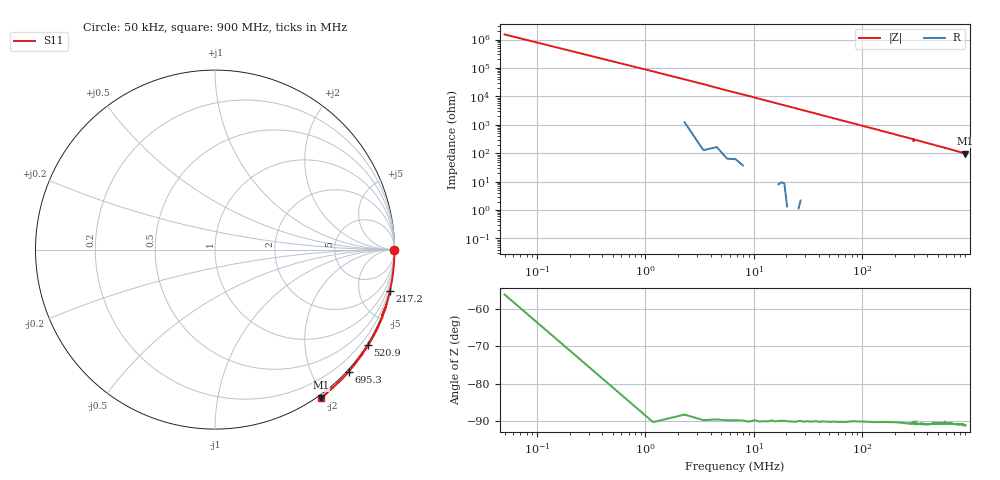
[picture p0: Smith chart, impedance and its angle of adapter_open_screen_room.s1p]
! NanoVNA-App
! Date: 2026-10-30 14:17:39
! Start: 50kHz Stop: 900MHz Points: 801
! S-Parameter data: F S11
# Hz S RI R 50
!  Frequency  S11_Real  S11_Imag
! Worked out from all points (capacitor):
!   801 points, 50 kHz to 900 MHz, reference 50 ohm
!   read as one part to ground: C = 1.73 pF near 4.55 MHz
!   lowest |Z| = 97.3 ohm at 900 MHz (marker M1)
!   S11 on the Smith chart (normalised r, x): 50 kHz: open; 217.2 MHz: -0.05, -8.55; 520.9 MHz: -0.03, -3.48; 695.3 MHz: -0.03, -2.57; 900 MHz: -0.03, -1.95
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50000  1 -5.5e-05
6.079662e7  0.9981 -0.0652
1.125438e8  0.9931 -0.1202
1.552914e8  0.987 -0.1656
2.171629e8  0.9742 -0.2311
2.250375e8  0.9725 -0.2395
2.936587e8  0.9536 -0.3112
2.947836e8  0.953 -0.3121
2.959086e8  0.9531 -0.3131
3.037831e8  0.9511 -0.3227
3.049081e8  0.9505 -0.3239
3.06033e8  0.9504 -0.3247
3.375312e8  0.939 -0.3576
3.836537e8  0.9205 -0.4044
4.084023e8  0.9106 -0.4281
4.50025e8  0.8898 -0.4683
5.208961e8  0.8516 -0.5333
5.625188e8  0.8285 -0.5696
5.782679e8  0.8193 -0.5837
5.805178e8  0.818 -0.585
5.883923e8  0.8132 -0.5918
5.906422e8  0.8112 -0.594
6.750125e8  0.7585 -0.664
6.952614e8  0.7443 -0.681
7.312594e8  0.7186 -0.7095
7.875062e8  0.6772 -0.7503
8.730015e8  0.6144 -0.8074
9e8  0.5904 -0.8249
